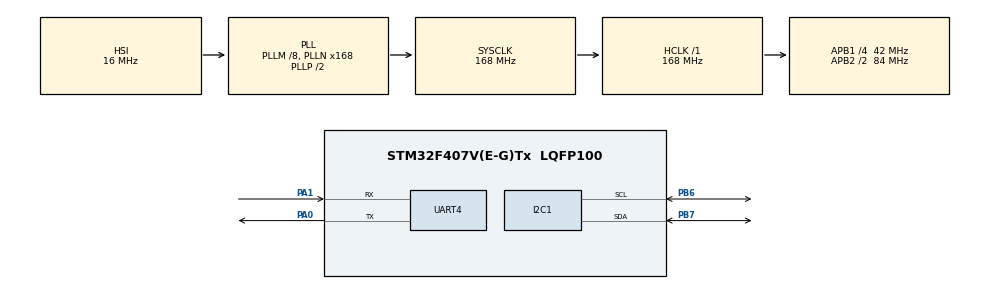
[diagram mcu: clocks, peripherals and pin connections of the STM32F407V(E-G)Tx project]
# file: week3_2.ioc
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I2C1.I2C_Mode=I2C_Fast
Mcu.Family=STM32F4
Mcu.Name=STM32F407V(E-G)Tx
Mcu.Package=LQFP100
NVIC.PriorityGroup=NVIC_PRIORITYGROUP_4
NVIC.UART4_IRQn=true\:0\:0\:false\:false\:true\:true\:true\:true
PA0-WKUP.Mode=Asynchronous
PA0-WKUP.Signal=UART4_TX
PA1.Mode=Asynchronous
PA1.Signal=UART4_RX
PA13.Mode=Serial_Wire
PA13.Signal=SYS_JTMS-SWDIO
PA14.Mode=Serial_Wire
PA14.Signal=SYS_JTCK-SWCLK
PB6.Mode=I2C
PB6.Signal=I2C1_SCL
PB7.Mode=I2C
PB7.Signal=I2C1_SDA
PH0-OSC_IN.Mode=HSE-External-Oscillator
PH0-OSC_IN.Signal=RCC_OSC_IN
PH1-OSC_OUT.Mode=HSE-External-Oscillator
PH1-OSC_OUT.Signal=RCC_OSC_OUT
ProjectManager.HeapSize=0x200
ProjectManager.StackSize=0x400
ProjectManager.TargetToolchain=Makefile
RCC.48MHZClocksFreq_Value=84000000
RCC.AHBFreq_Value=168000000
RCC.APB1CLKDivider=RCC_HCLK_DIV4
RCC.APB1Freq_Value=42000000
RCC.APB1TimFreq_Value=84000000
RCC.APB2CLKDivider=RCC_HCLK_DIV2
RCC.APB2Freq_Value=84000000
RCC.APB2TimFreq_Value=168000000
RCC.CortexFreq_Value=168000000
RCC.HCLKFreq_Value=168000000
RCC.HSE_VALUE=25000000
RCC.HSI_VALUE=16000000
RCC.LSE_VALUE=32768
RCC.PLLM=8
RCC.PLLN=168
RCC.SYSCLKFreq_VALUE=168000000
RCC.SYSCLKSource=RCC_SYSCLKSOURCE_PLLCLK
RCC.VCOOutputFreq_Value=336000000
UART4.VirtualMode=Asynchronous
board=custom

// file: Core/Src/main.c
/* USER CODE BEGIN Header */
/**
  ******************************************************************************
  * @file           : main.c
  * @brief          : Main program body
  ******************************************************************************
  * @attention
  *
  * Copyright (c) 2026 STMicroelectronics.
  * All rights reserved.
  *
  * This software is licensed under terms that can be found in the LICENSE file
  * in the root directory of this software component.
  * If no LICENSE file comes with this software, it is provided AS-IS.
  *
  ******************************************************************************
  */
/* USER CODE END Header */
#include "main.h"
#include "i2c.h"
#include "usart.h"
#include "gpio.h"
#include "OLED.h"
#include "vofa.h"
#include <math.h>

void SystemClock_Config(void);

/* USER CODE BEGIN 0 */
#define PI 3.14159265f
float t = 0.0f;
/* USER CODE END 0 */

int main(void)
{

  /* USER CODE BEGIN 1 */
  int temp = 0;
  /* USER CODE END 1 */

  /* MCU Configuration--------------------------------------------------------*/

  /* Reset of all peripherals, Initializes the Flash interface and the Systick. */
  HAL_Init();

  /* Configure the system clock */
  SystemClock_Config();

  /* Initialize all configured peripherals */
  MX_GPIO_Init();
  MX_UART4_Init();
  MX_I2C1_Init();
  /* USER CODE BEGIN 2 */
  OLED_init();
  OLED_display_on();
  OLED_LOGO();
  HAL_Delay(3000);
  HAL_UART_Receive_IT(&huart4, ReceiveData, 1);
  /* USER CODE END 2 */

  /* Infinite loop */
  while (1)
  {

    /* USER CODE BEGIN 3 */
    t += 0.01f;
    OLED_operate_gram(PEN_CLEAR);
    if (ReceiveData[0] == '1')
    {
      TransmitData[0] = 2.0f * sinf(2.0f * PI * t);
      Vofa_JustFloat(TransmitData, 1);
      OLED_show_string(0, 0, (uint8_t *)"Sine");
      temp = 1;
    }
    else if (ReceiveData[0] == '2')
    {
      float phase = fmodf(t, 0.5f);
      TransmitData[0] = (phase / 0.5f) * 2.0f - 1.0f;
      Vofa_JustFloat(TransmitData, 1);
      OLED_show_string(2, 0, (uint8_t *)"Sawtooth");
      temp = 2;
    }
    else if (ReceiveData[0] == '3')
    {
      float phase = fmodf(t, 1.5f);
      if (phase < 0.75f) {
        TransmitData[0] = 0.5f;
      } else {
        TransmitData[0] = -0.5f;
      }
      Vofa_JustFloat(TransmitData, 1);
      OLED_show_string(4, 0, (uint8_t *)"Square");
      temp = 3;
    }
    else {
      ReceiveData[0] = temp;
    }
    OLED_refresh_gram();
    HAL_Delay(10);
  }
  /* USER CODE END 3 */
}

void SystemClock_Config(void)
{
  RCC_OscInitTypeDef RCC_OscInitStruct = {0};
  RCC_ClkInitTypeDef RCC_ClkInitStruct = {0};

  /** Configure the main internal regulator output voltage
  */
  __HAL_RCC_PWR_CLK_ENABLE();
  __HAL_PWR_VOLTAGESCALING_CONFIG(PWR_REGULATOR_VOLTAGE_SCALE1);

  /** Initializes the RCC Oscillators according to the specified parameters
  * in the RCC_OscInitTypeDef structure.
  */
  RCC_OscInitStruct.OscillatorType = RCC_OSCILLATORTYPE_HSI;
  RCC_OscInitStruct.HSIState = RCC_HSI_ON;
  RCC_OscInitStruct.HSICalibrationValue = RCC_HSICALIBRATION_DEFAULT;
  RCC_OscInitStruct.PLL.PLLState = RCC_PLL_ON;
  RCC_OscInitStruct.PLL.PLLSource = RCC_PLLSOURCE_HSI;
  RCC_OscInitStruct.PLL.PLLM = 8;
  RCC_OscInitStruct.PLL.PLLN = 168;
  RCC_OscInitStruct.PLL.PLLP = RCC_PLLP_DIV2;
  RCC_OscInitStruct.PLL.PLLQ = 4;
  if (HAL_RCC_OscConfig(&RCC_OscInitStruct) != HAL_OK)
  {
    Error_Handler();
  }

  /** Initializes the CPU, AHB and APB buses clocks
  */
  RCC_ClkInitStruct.ClockType = RCC_CLOCKTYPE_HCLK|RCC_CLOCKTYPE_SYSCLK
                              |RCC_CLOCKTYPE_PCLK1|RCC_CLOCKTYPE_PCLK2;
  RCC_ClkInitStruct.SYSCLKSource = RCC_SYSCLKSOURCE_PLLCLK;
  RCC_ClkInitStruct.AHBCLKDivider = RCC_SYSCLK_DIV1;
  RCC_ClkInitStruct.APB1CLKDivider = RCC_HCLK_DIV4;
  RCC_ClkInitStruct.APB2CLKDivider = RCC_HCLK_DIV2;

  if (HAL_RCC_ClockConfig(&RCC_ClkInitStruct, FLASH_LATENCY_5) != HAL_OK)
  {
    Error_Handler();
  }
}

void Error_Handler(void)
{
  __disable_irq();
  while (1)
  {
  }
}
